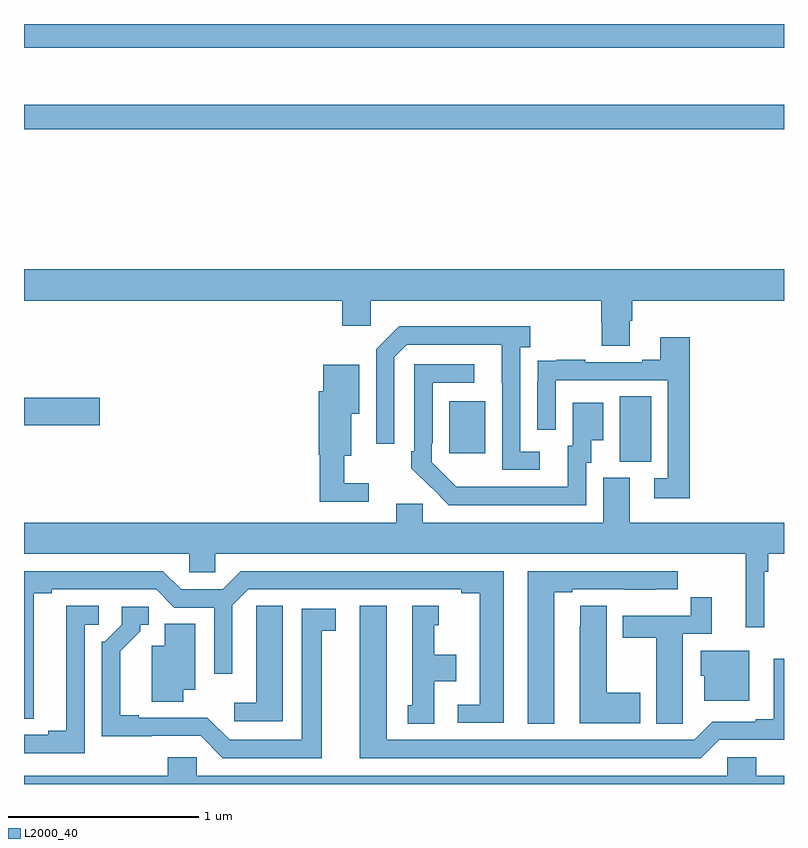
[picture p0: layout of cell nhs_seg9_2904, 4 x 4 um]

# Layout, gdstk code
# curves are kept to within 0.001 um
import gdstk
lib = gdstk.Library(unit=1e-6, precision=1e-09)
def R(c, l, rs):  # rectangles x0, y0, x1, y1
    for r in rs: c.add(gdstk.rectangle(r[:2], r[2:], *l))
def P(c, l, *ps):  # polygons
    for p in ps: c.add(gdstk.Polygon(p, *l))
L2000_40 = (2000, 40)

nhs_seg9_2904 = lib.new_cell('nhs_seg9_2904')
R(nhs_seg9_2904, L2000_40, [(280.136,1238.197,280.3,1238.54), (279.239,1238.241,279.427,1238.515), (277,1238.387,277.399,1238.534), (277,1239.946,281,1240.075), (277,1240.376,281,1240.5)])
P(nhs_seg9_2904, L2000_40, [(280.189,1238.938),(280.202,1238.938),(280.202,1239.044),(281,1239.044),(281,1239.208),(277,1239.208),(277,1239.044),(278.675,1239.044),(278.675,1238.913),(278.826,1238.913),(278.826,1239.044),(280.037,1239.044),(280.037,1238.931),(280.042,1238.931),(280.042,1238.806),(280.189,1238.806)],
  [(279.715,1238.25),(279.612,1238.25),(279.612,1238.798),(279.664,1238.798),(279.664,1238.908),(278.974,1238.908),(278.853,1238.787),(278.853,1238.292),(278.949,1238.292),(278.949,1238.745),(279.015,1238.811),(279.515,1238.811),(279.516,1238.154),(279.715,1238.154)],
  [(280.505,1238.851),(280.349,1238.851),(280.349,1238.734),(280.253,1238.734),(280.253,1238.721),(279.953,1238.721),(279.953,1238.734),(279.805,1238.734),(279.805,1238.727),(279.703,1238.727),(279.703,1238.618),(279.702,1238.618),(279.702,1238.364),(279.798,1238.364),(279.798,1238.625),(280.389,1238.625),(280.389,1238.109),(280.317,1238.109),(280.317,1238.004),(280.505,1238.004)],
  [(279.96,1238.19),(279.985,1238.19),(279.985,1238.309),(280.048,1238.309),(280.048,1238.506),(279.887,1238.506),(279.887,1238.28),(279.863,1238.28),(279.863,1238.064),(279.276,1238.065),(279.147,1238.193),(279.147,1238.293),(279.15,1238.293),(279.15,1238.613),(279.37,1238.613),(279.37,1238.709),(279.054,1238.709),(279.054,1238.251),(279.039,1238.251),(279.039,1238.163),(279.236,1237.968),(279.96,1237.968)],
  [(278.815,1238.083),(278.686,1238.083),(278.686,1238.228),(278.722,1238.228),(278.722,1238.45),(278.764,1238.45),(278.764,1238.707),(278.576,1238.707),(278.576,1238.568),(278.552,1238.568),(278.552,1238.232),(278.557,1238.232),(278.557,1237.986),(278.815,1237.986)],
  [(280.896,1237.616),(280.916,1237.616),(280.916,1237.712),(281,1237.712),(281,1237.876),(280.189,1237.876),(280.189,1238.112),(280.049,1238.112),(280.049,1237.876),(279.099,1237.876),(279.099,1237.974),(278.96,1237.974),(278.96,1237.876),(277,1237.876),(277,1237.712),(277.869,1237.712),(277.869,1237.614),(278.007,1237.614),(278.007,1237.712),(280.799,1237.712),(280.799,1237.326),(280.896,1237.326)],
  [(279.79,1237.509),(279.886,1237.509),(279.886,1237.524),(280.162,1237.524),(280.162,1237.523),(280.328,1237.523),(280.328,1237.524),(280.441,1237.524),(280.441,1237.62),(279.65,1237.62),(279.65,1236.817),(279.79,1236.817)],
  [(279.526,1237.62),(278.141,1237.62),(278.045,1237.524),(277.827,1237.524),(277.731,1237.62),(277,1237.62),(277,1236.844),(277.051,1236.844),(277.051,1237.504),(277.147,1237.504),(277.147,1237.524),(277.695,1237.524),(277.791,1237.428),(278.001,1237.428),(278.001,1237.08),(278.097,1237.08),(278.097,1237.44),(278.181,1237.524),(279.302,1237.524),(279.302,1237.504),(279.398,1237.504),(279.398,1236.918),(279.282,1236.918),(279.282,1236.822),(279.526,1236.822)],
  [(280.467,1236.928),(280.468,1236.928),(280.468,1237.29),(280.619,1237.29),(280.619,1237.483),(280.51,1237.483),(280.51,1237.386),(280.151,1237.386),(280.151,1237.27),(280.328,1237.27),(280.328,1236.817),(280.467,1236.817)],
  [(278.362,1237.439),(278.223,1237.439),(278.223,1237.331),(278.222,1237.331),(278.222,1236.928),(278.106,1236.928),(278.106,1236.831),(278.362,1236.831)],
  [(280.243,1236.981),(280.066,1236.981),(280.066,1237.439),(279.927,1237.439),(279.927,1237.331),(279.926,1237.331),(279.926,1236.821),(280.243,1236.821)],
  [(277.32,1237.338),(277.393,1237.338),(277.393,1237.439),(277.223,1237.439),(277.223,1236.779),(277.127,1236.779),(277.127,1236.759),(277,1236.759),(277,1236.663),(277.32,1236.663)],
  [(280.659,1236.732),(281,1236.732),(281,1237.159),(280.946,1237.159),(280.946,1236.841),(280.85,1236.841),(280.85,1236.828),(280.623,1236.828),(280.527,1236.732),(278.908,1236.732),(278.908,1237.438),(278.768,1237.438),(278.768,1236.636),(280.563,1236.636)],
  [(279.16,1237.04),(279.274,1237.04),(279.274,1237.18),(279.16,1237.18),(279.16,1237.335),(279.184,1237.335),(279.184,1237.438),(279.044,1237.438),(279.044,1236.915),(279.02,1236.915),(279.02,1236.817),(279.16,1236.817)],
  [(278.566,1237.306),(278.641,1237.306),(278.641,1237.422),(278.462,1237.422),(278.462,1236.732),(278.082,1236.732),(277.964,1236.85),(277.603,1236.849),(277.603,1236.862),(277.507,1236.862),(277.507,1237.198),(277.612,1237.303),(277.612,1237.338),(277.657,1237.338),(277.657,1237.434),(277.515,1237.434),(277.515,1237.338),(277.425,1237.248),(277.41,1237.248),(277.41,1236.752),(277.929,1236.753),(278.046,1236.636),(278.566,1236.636)],
  [(277.837,1236.995),(277.9,1236.995),(277.9,1237.343),(277.742,1237.343),(277.742,1237.228),(277.673,1237.228),(277.673,1236.934),(277.837,1236.934)],
  [(280.816,1237.201),(280.562,1237.201),(280.562,1237.071),(280.58,1237.071),(280.58,1236.938),(280.816,1236.938)],
  [(281,1236.544),(280.853,1236.544),(280.853,1236.642),(280.701,1236.642),(280.701,1236.544),(277.908,1236.544),(277.908,1236.642),(277.757,1236.642),(277.757,1236.544),(277,1236.544),(277,1236.5),(281,1236.5)])

lib.write_gds('nhs_seg9_2904.gds')
